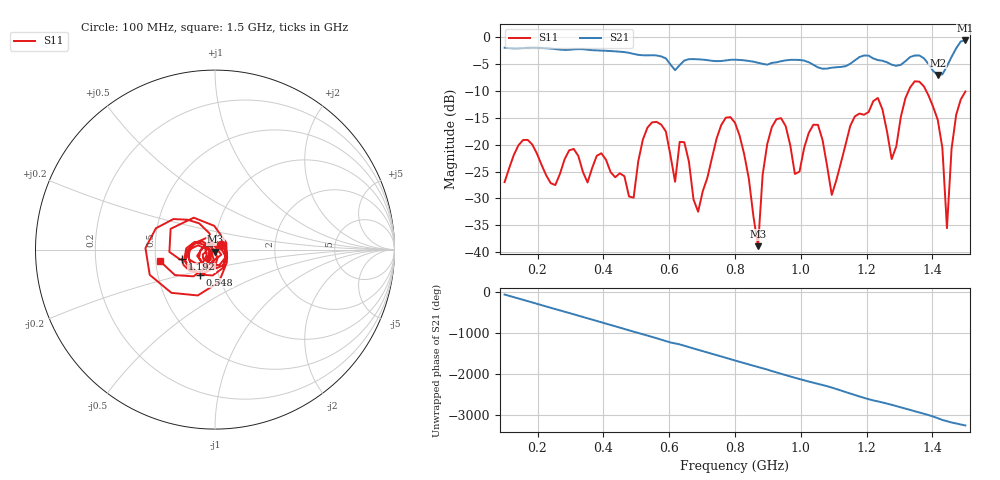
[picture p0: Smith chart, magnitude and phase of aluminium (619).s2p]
! NanoVNA-App
! Date: 2025-09-25 15:00:06
! Start: 100MHz Stop: 1,5GHz Points: 101
! S-Parameter data: F S11 S21 S12 S22
# Hz S RI R 50
!  Frequency  S11_Real  S11_Imag  S21_Real  S21_Imag  S12_Real  S12_Imag  S22_Real  S22_Imag
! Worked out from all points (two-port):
!   101 points, 100 MHz to 1.5 GHz, reference 50 ohm
!   highest |S21| = -0.56 dB at 1.5 GHz (marker M1); lowest = -7.0 dB at 1.416 GHz (marker M2)
!   |S21| within 3 dB of the highest: start of sweep to 576.9 MHz; 1.459 GHz to end of sweep (the widest 2 of 4)
!   lowest |S11| = -38.9 dB at 870 MHz (marker M3), VSWR 1.02, Z = 50.2 - j1.12 ohm
!   |S11| at or under -10 dB: start of sweep to 1.327 GHz; 1.381 GHz to end of sweep
!   S12 and S22 are empty: the file has one direction only
!   S11 on the Smith chart (normalised r, x): 100 MHz: 1.07, +0.06; 548 MHz: 0.82, -0.23; 1.192 GHz: 0.69, -0.08; 1.5 GHz: 0.53, -0.07
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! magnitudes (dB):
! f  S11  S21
! 100 MHz  -27.0  -1.9
! 156 MHz  -19.1  -2.0
! 338 MHz  -25.1  -2.2
! 492 MHz  -29.8  -3.1
! 548 MHz  -15.8  -3.3
! 576 MHz  -16.3  -3.5
! 646 MHz  -19.5  -4.3
! 688 MHz  -32.5  -4.1
! 800 MHz  -15.9  -4.1
! 870 MHz  -38.9  -4.7
! 912 MHz  -16.7  -4.7
! 982 MHz  -25.4  -4.2
! 1.038 GHz  -16.3  -5.1
! 1.094 GHz  -29.3  -5.6
! 1.192 GHz  -14.4  -3.4
! 1.234 GHz  -11.3  -4.2
! 1.276 GHz  -22.7  -5.1
! 1.346 GHz  -8.2  -3.4
! 1.416 GHz  -15.4  -7.0
! 1.444 GHz  -35.5  -5.4
! 1.458 GHz  -20.8  -3.6
! 1.5 GHz  -10.1  -0.6
